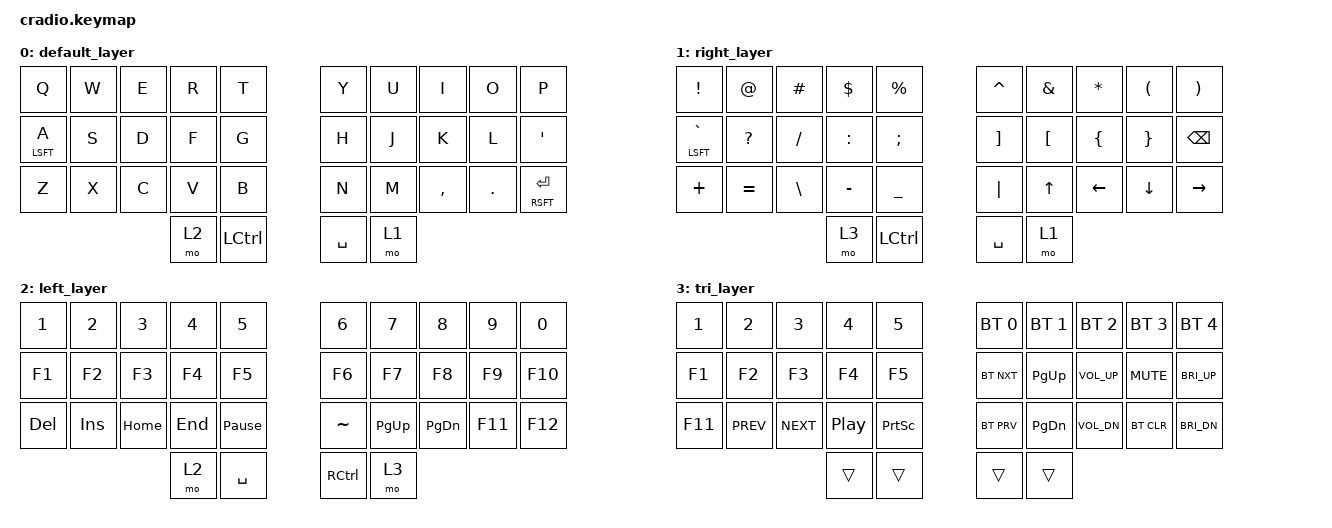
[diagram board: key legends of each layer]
/*
 * Copyright (c) 2020 The ZMK Contributors
 *
 * SPDX-License-Identifier: MIT
 */

#include <behaviors.dtsi>
#include <dt-bindings/zmk/keys.h>
#include <dt-bindings/zmk/bt.h>


&mt {
  //  flavor = "tap-unless-interrupted";
  //  tapping-term-ms = <50>;
  flavor = "balanced";
};

/ {
	combos {
		compatible = "zmk,combos";
		combo_esc {
			timeout-ms = <50>;
			key-positions = <0 1>;
			bindings = <&kp ESC>;
		};
		combo_caps {
			timeout-ms = <50>;
			key-positions = <8 9>;
			bindings = <&kp CAPS>;
		};
		combo_lalt {
			timeout-ms = <50>;
			key-positions = <11 12>;
			bindings = <&kp LALT>;
		};
		combo_lgui {
			timeout-ms = <50>;
			key-positions = <12 13>;
			bindings = <&kp LGUI>;
		};
		combo_tab {
			timeout-ms = <50>;
			key-positions = <10 11>;
			bindings = <&kp TAB>;
		};
		combo_ralt {
			timeout-ms = <50>;
			key-positions = <17 16>;
			bindings = <&kp RALT>;
		};
		combo_rgui {
			timeout-ms = <50>;
			key-positions = <17 18>;
			bindings = <&kp RGUI>;
		};
	};

	keymap {
		compatible = "zmk,keymap";
		default_layer {
			bindings = <
			&kp Q &kp W &kp E &kp R &kp T						&kp Y &kp U &kp I &kp O &kp P
			&mt LSFT A &kp S &kp D &kp F &kp G					&kp H &kp J &kp K &kp L &kp SQT
			&kp Z &kp X &kp C &kp V &kp B						&kp N &kp M &kp CMMA &kp DOT &mt RSFT RET
							&mo 2 &kp LCTL				&kp SPACE &mo 1
			>;
		};
		
		right_layer {
			bindings = <
			&kp EXCL &kp AT &kp HASH &kp DLLR &kp PRCNT				&kp CARET &kp AMPS &kp STAR &kp LPAR &kp RPAR
			&mt LSFT GRAVE &kp QMARK &kp FSLH &kp COLON &kp SEMI			&kp RBKT &kp LBKT &kp LBRC &kp RBRC &kp BSPC
			&kp PLUS &kp EQUAL &kp BSLH &kp MINUS &kp UNDER				&kp PIPE &kp UP &kp LEFT &kp DOWN &kp RIGHT
							&mo 3 &kp LCTL				&kp SPACE &mo 1
			>;
		};
		
		left_layer {
			bindings = <
			&kp NUM_1 &kp NUM_2 &kp NUM_3 &kp NUM_4 &kp NUM_5			&kp NUM_6 &kp NUM_7 &kp NUM_8 &kp NUM_9 &kp NUM_0
			&kp F1 &kp F2 &kp F3 &kp F4 &kp F5					&kp F6 &kp F7 &kp F8 &kp F9 &kp F10
			&kp DEL &kp INS &kp HOME &kp END &kp PAUSE_BREAK			&kp TILDE &kp PG_UP &kp PG_DN &kp F11 &kp F12
							&mo 2 &kp SPACE				&kp RCTL &mo 3
			>;
		};

		tri_layer {
			bindings = <
			&kp NUM_1 &kp NUM_2 &kp NUM_3 &kp NUM_4 &kp NUM_5			&bt BT_SEL 0 &bt BT_SEL 1 &bt BT_SEL 2 &bt BT_SEL 3 &bt BT_SEL 4
			&kp F1 &kp F2 &kp F3 &kp F4 &kp F5					&bt BT_NXT &kp PG_UP &kp C_VOL_UP &kp C_MUTE &kp C_BRI_UP
			&kp F11 &kp C_PREV &kp C_NEXT &kp C_PP &kp PSCRN			&bt BT_PRV &kp PG_DN &kp C_VOL_DN &bt BT_CLR &kp C_BRI_DN
							&trans &trans				&trans &trans
			>;
		};
	};
};
